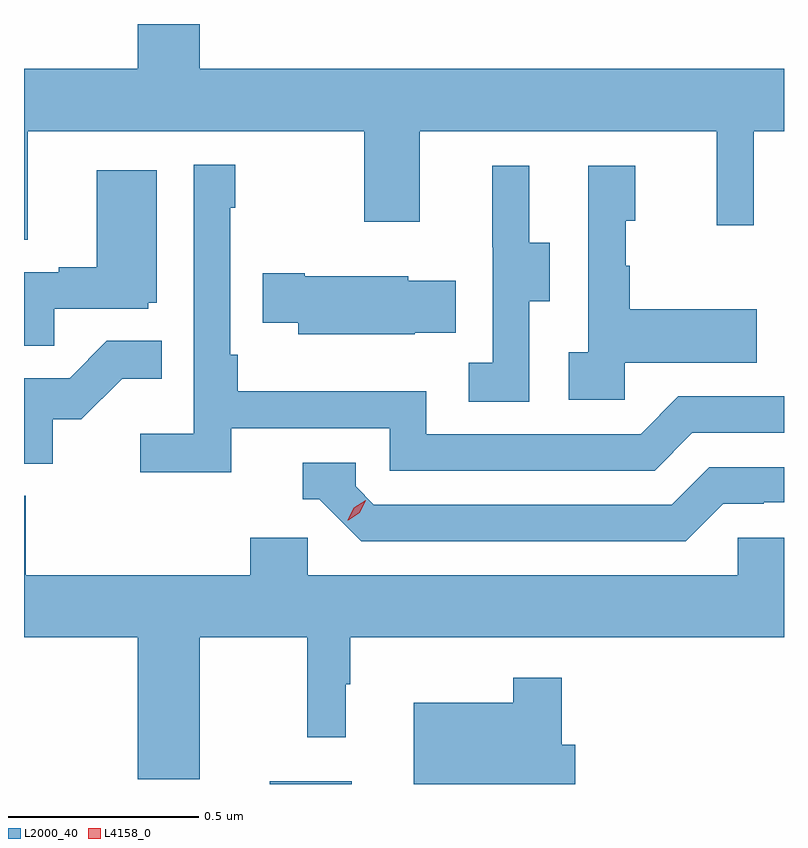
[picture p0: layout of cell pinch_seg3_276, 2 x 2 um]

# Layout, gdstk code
import gdstk
lib = gdstk.Library(unit=1e-6, precision=1e-09)
def R(c, l, rs):  # rectangles x0, y0, x1, y1
    for r in rs: c.add(gdstk.rectangle(r[:2], r[2:], *l))
def P(c, l, *ps):  # polygons
    for p in ps: c.add(gdstk.Polygon(p, *l))
L2000_40 = (2000, 40)
L4158_0 = (4158, 0)

pinch_seg3_276 = lib.new_cell('pinch_seg3_276')
R(pinch_seg3_276, L2000_40, [(896.624,716.514,896.839,716.521)])
P(pinch_seg3_276, L2000_40, [(895.987,718.232),(896.872,718.232),(896.872,717.993),(897.019,717.993),(897.019,718.232),(897.8,718.232),(897.8,717.984),(897.897,717.984),(897.897,718.232),(897.977,718.232),(897.977,718.396),(896.44,718.396),(896.44,718.514),(896.276,718.514),(896.276,718.396),(895.977,718.396),(895.977,717.946),(895.987,717.946)],
  [(896.522,717.45),(896.94,717.45),(896.94,717.339),(897.637,717.339),(897.736,717.438),(897.977,717.438),(897.977,717.534),(897.699,717.534),(897.6,717.435),(897.036,717.435),(897.036,717.547),(896.54,717.547),(896.54,717.643),(896.52,717.643),(896.52,718.031),(896.533,718.031),(896.533,718.144),(896.424,718.144),(896.424,717.436),(896.283,717.436),(896.283,717.334),(896.522,717.334)],
  [(897.558,717.623),(897.905,717.623),(897.905,717.763),(897.571,717.763),(897.571,717.878),(897.561,717.878),(897.561,717.996),(897.586,717.996),(897.586,718.141),(897.462,718.141),(897.462,717.65),(897.411,717.65),(897.411,717.525),(897.558,717.525)],
  [(897.306,717.784),(897.361,717.784),(897.361,717.939),(897.307,717.939),(897.307,718.141),(897.209,718.141),(897.209,717.927),(897.21,717.927),(897.21,717.623),(897.147,717.623),(897.147,717.52),(897.306,717.52)],
  [(896.057,717.765),(896.304,717.765),(896.304,717.78),(896.326,717.78),(896.326,718.129),(896.168,718.129),(896.168,717.874),(896.069,717.874),(896.069,717.861),(895.977,717.861),(895.977,717.667),(896.057,717.667)],
  [(897.005,717.701),(897.113,717.701),(897.113,717.838),(896.988,717.838),(896.988,717.85),(896.716,717.85),(896.716,717.858),(896.605,717.858),(896.605,717.728),(896.699,717.728),(896.699,717.698),(897.005,717.698)],
  [(896.052,717.474),(896.128,717.474),(896.235,717.581),(896.339,717.581),(896.339,717.68),(896.195,717.68),(896.097,717.582),(895.977,717.582),(895.977,717.357),(896.052,717.357)],
  [(897.817,717.252),(897.924,717.252),(897.924,717.255),(897.977,717.255),(897.977,717.348),(897.78,717.348),(897.681,717.249),(896.898,717.249),(896.85,717.297),(896.85,717.36),(896.711,717.36),(896.711,717.264),(896.754,717.264),(896.865,717.153),(897.718,717.153)],
  [(896.44,716.9),(896.722,716.9),(896.722,716.637),(896.824,716.637),(896.824,716.777),(896.836,716.777),(896.836,716.9),(897.977,716.9),(897.977,717.162),(897.855,717.162),(897.855,717.064),(896.724,717.064),(896.724,717.162),(896.573,717.162),(896.573,717.064),(895.982,717.064),(895.982,717.272),(895.977,717.272),(895.977,716.9),(896.276,716.9),(896.276,716.526),(896.44,716.526)],
  [(897.427,716.617),(897.392,716.617),(897.392,716.794),(897.264,716.794),(897.264,716.728),(897.002,716.728),(897.002,716.514),(897.427,716.514)])
P(pinch_seg3_276, L4158_0, [(896.829,717.208),(896.829,717.209),(896.845,717.241),(896.876,717.261),(896.876,717.261),(896.876,717.26),(896.86,717.228),(896.83,717.208)])

lib.write_gds('pinch_seg3_276.gds')
